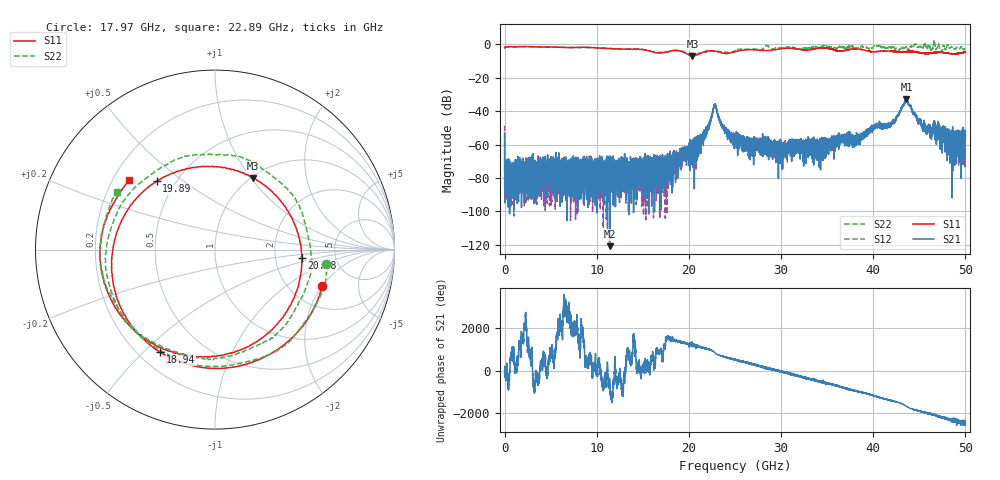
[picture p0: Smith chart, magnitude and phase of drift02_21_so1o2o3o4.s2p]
!Created with skrf (http://scikit-rf.org).
# Hz S RI R 50.0
!freq ReS11 ImS11 ReS21 ImS21 ReS12 ImS12 ReS22 ImS22
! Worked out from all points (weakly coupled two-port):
!   10001 points, 300 kHz to 50 GHz, reference 50 ohm
!   highest |S21| = -32.73 dB at 43.61 GHz (marker M1); lowest = -120.8 dB at 11.39 GHz (marker M2)
!   lowest |S11| = -6.9 dB at 20.38 GHz (marker M3), VSWR 2.64, Z = 51.4 + j51.1 ohm
!   |S11| at or under -10 dB: nowhere
!   |S22| runs from -5.7 to 2.3 dB; largest |S21 - S12| = 0.0059
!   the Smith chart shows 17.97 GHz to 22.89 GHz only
!   S11 on the Smith chart (normalised r, x): 17.97 GHz: 2.95, -1.99; 18.94 GHz: 0.29, -0.56; 19.89 GHz: 0.39, +0.40; 20.88 GHz: 2.83, -0.34; 22.89 GHz: 0.27, +0.33
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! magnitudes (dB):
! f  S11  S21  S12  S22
! 300 kHz  -2.1  -53.1  -48.6  -2.1
! 255.3 MHz  -1.4  -73.7  -76.2  -1.4
! 8.335 GHz  -1.7  -69.0  -76.2  -1.9
! 11.39 GHz  -2.5  -120.8  -78.0  -2.4
! 16.67 GHz  -5.2  -75.8  -79.8  -4.7
! 17.97 GHz  -4.0  -72.4  -68.9  -4.1
! 18.94 GHz  -3.8  -69.4  -70.9  -3.9
! 19.89 GHz  -6.0  -64.4  -64.0  -5.1
! 20.38 GHz  -6.9  -59.2  -64.7  -5.4
! 20.88 GHz  -6.3  -62.3  -59.8  -5.6
! 21.8 GHz  -4.3  -52.1  -54.2  -4.4
! 22.89 GHz  -4.2  -36.5  -36.5  -4.0
! 23.7 GHz  -5.2  -49.8  -49.7  -4.6
! 25 GHz  -4.5  -57.1  -55.4  -3.9
! 29.73 GHz  -2.9  -61.3  -60.8  -2.1
! 33.34 GHz  -3.0  -57.7  -60.1  -1.5
! 37.96 GHz  -2.8  -61.5  -58.2  -2.0
! 41.67 GHz  -4.0  -48.5  -48.0  -1.8
! 43.61 GHz  -4.4  -32.7  -33.4  -1.5
! 45.65 GHz  -5.4  -48.9  -49.9  0.0
! 48.54 GHz  -5.6  -58.3  -62.6  -1.6
! 50 GHz  -4.6  -51.6  -52.7  -2.7
